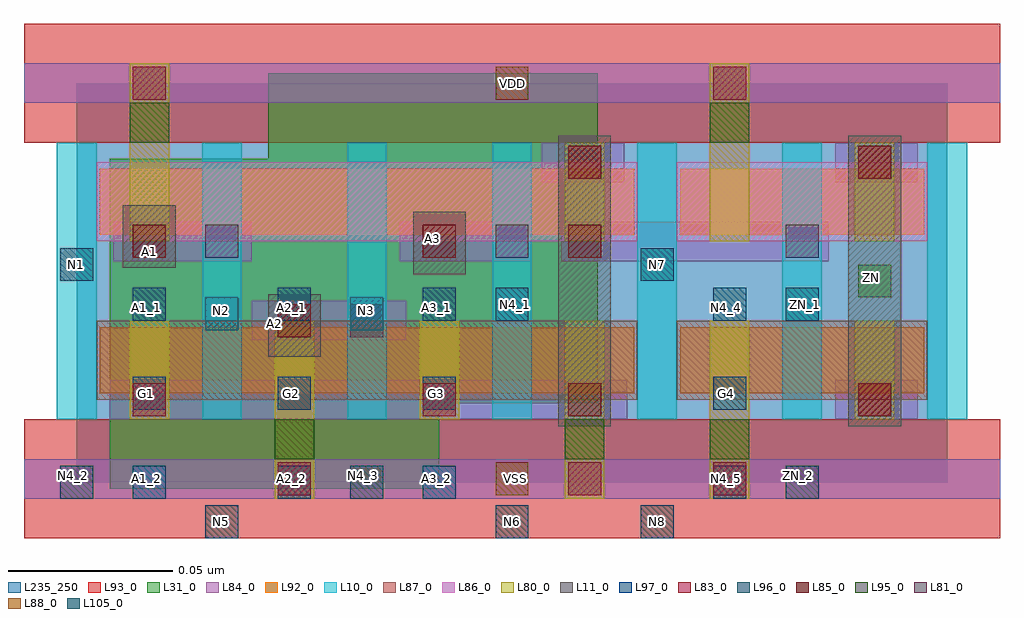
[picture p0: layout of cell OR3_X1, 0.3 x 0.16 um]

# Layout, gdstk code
import gdstk
lib = gdstk.Library(unit=1e-6, precision=1e-09)
def R(c, l, rs):  # rectangles x0, y0, x1, y1
    for r in rs: c.add(gdstk.rectangle(r[:2], r[2:], *l))
def A(c, l, x, y, w, h, nx, ny, dx, dy):  # array of equal rectangles
    R(c, l, [(x+i*dx, y+j*dy, x+i*dx+w, y+j*dy+h) for i in range(nx) for j in range(ny)])
L10_0 = (10, 0)
L11_0 = (11, 0)
L31_0 = (31, 0)
L80_0 = (80, 0)
L81_0 = (81, 0)
L83_0 = (83, 0)
L84_0 = (84, 0)
L85_0 = (85, 0)
L86_0 = (86, 0)
L87_0 = (87, 0)
L88_0 = (88, 0)
L92_0 = (92, 0)
L93_0 = (93, 0)
L95_0 = (95, 0)
L96_0 = (96, 0)
L97_0 = (97, 0)
L105_0 = (105, 0)
L235_250 = (235, 250)

or3_x1 = lib.new_cell('OR3_X1')
A(or3_x1, L10_0, -0.006, 0.019, 0.012, 0.084, 7, 1, 0.044, 0)
R(or3_x1, L11_0, [(0.146,0.017,0.162,0.105), (0.234,0.017,0.25,0.105), (0.058,0.038,0.074,0.057), (0.102,0.063,0.118,0.082), (0.014,0.065,0.03,0.084)])
R(or3_x1, L31_0, [(0.01,-0.002,0.11,0.098), (0.058,0.024,0.158,0.124), (0.237,0.056,0.247,0.066), (0.015,0.068,0.025,0.078), (0.105,0.068,0.115,0.078)])
R(or3_x1, L80_0, [(0.06,-0.005,0.072,0.049), (0.148,-0.005,0.16,0.049), (0.192,-0.005,0.204,0.049), (0.016,0.019,0.028,0.049), (0.104,0.019,0.116,0.049), (0.236,0.019,0.248,0.049), (0.016,0.073,0.028,0.127), (0.148,0.073,0.16,0.103), (0.192,0.073,0.204,0.127), (0.236,0.073,0.248,0.103)])
A(or3_x1, L81_0, 0.039, 0.068, 0.01, 0.01, 3, 1, 0.088, 0)
R(or3_x1, L81_0, [(0.083,0.044,0.093,0.054)])
R(or3_x1, L83_0, [(0.061,-0.004,0.071,0.006), (0.149,-0.004,0.159,0.006), (0.193,-0.004,0.203,0.006), (0.017,0.02,0.027,0.03), (0.105,0.02,0.115,0.03), (0.237,0.02,0.247,0.03), (0.149,0.092,0.159,0.102), (0.237,0.092,0.247,0.102), (0.017,0.116,0.027,0.126), (0.193,0.116,0.203,0.126)])
R(or3_x1, L84_0, [(-0.016,-0.005,0.28,0.007), (0.01,0.019,0.167,0.031), (0.23,0.019,0.255,0.031), (0.053,0.043,0.1,0.055), (0.011,0.067,0.053,0.079), (0.098,0.067,0.138,0.079), (0.147,0.067,0.228,0.079), (0.141,0.091,0.166,0.103), (0.23,0.091,0.255,0.103), (-0.016,0.115,0.28,0.127)])
R(or3_x1, L85_0, [(0.149,0.02,0.159,0.03), (0.237,0.02,0.247,0.03), (0.061,0.044,0.071,0.054), (0.017,0.068,0.027,0.078), (0.105,0.068,0.115,0.078), (0.149,0.068,0.159,0.078), (0.149,0.092,0.159,0.102), (0.237,0.092,0.247,0.102)])
R(or3_x1, L86_0, [(0.006,0.073,0.17,0.097), (0.182,0.073,0.258,0.097)])
R(or3_x1, L87_0, [(0.006,0.025,0.17,0.049), (0.182,0.025,0.258,0.049)])
R(or3_x1, L88_0, [(0.127,-0.004,0.137,0.006), (0.127,0.116,0.137,0.126)])
R(or3_x1, L92_0, [(0.007,0.027,0.169,0.047), (0.183,0.027,0.257,0.047), (0.007,0.075,0.169,0.095), (0.183,0.075,0.257,0.095)])
R(or3_x1, L93_0, [(-0.016,-0.017,0.28,0.019), (-0.016,0.103,0.28,0.139)])
R(or3_x1, L95_0, [(0.06,0.007,0.072,0.019), (0.148,0.007,0.16,0.019), (0.192,0.007,0.204,0.019), (0.016,0.103,0.028,0.115), (0.192,0.103,0.204,0.115)])
R(or3_x1, L96_0, [(0.039,-0.017,0.049,-0.007), (0.127,-0.017,0.137,-0.007), (0.171,-0.017,0.181,-0.007), (-0.005,-0.005,0.005,0.005), (0.083,-0.005,0.093,0.005), (0.215,-0.005,0.225,0.005), (0.127,0.049,0.137,0.059), (0.215,0.049,0.225,0.059), (-0.005,0.061,0.005,0.071), (0.171,0.061,0.181,0.071)])
A(or3_x1, L97_0, 0.017, -0.005, 0.01, 0.01, 3, 3, 0.044, 0.027)
A(or3_x1, L97_0, 0.193, -0.005, 0.01, 0.01, 1, 3, 0, 0.027)
R(or3_x1, L105_0, [(0.039,0.046,0.049,0.056), (0.083,0.046,0.093,0.056)])
R(or3_x1, L235_250, [(0,0,0.264,0.121)])
or3_x1.add(gdstk.Label('VSS', (0.133,0.001), layer=88, texttype=0))
or3_x1.add(gdstk.Label('VDD', (0.132,0.121), layer=88, texttype=0))
or3_x1.add(gdstk.Label('A2', (0.06,0.048), layer=31, texttype=0))
or3_x1.add(gdstk.Label('ZN', (0.241,0.062), layer=31, texttype=0))
or3_x1.add(gdstk.Label('A3', (0.108,0.074), layer=31, texttype=0))
or3_x1.add(gdstk.Label('A1', (0.022,0.07), layer=31, texttype=0))
or3_x1.add(gdstk.Label('N2', (0.044,0.052), layer=105, texttype=0))
or3_x1.add(gdstk.Label('N3', (0.088,0.052), layer=105, texttype=0))
or3_x1.add(gdstk.Label('A3_1', (0.109,0.053), layer=97, texttype=0))
or3_x1.add(gdstk.Label('A3_2', (0.109,0.001), layer=97, texttype=0))
or3_x1.add(gdstk.Label('N4_5', (0.197,0.001), layer=97, texttype=0))
or3_x1.add(gdstk.Label('G3', (0.109,0.027), layer=97, texttype=0))
or3_x1.add(gdstk.Label('N4_4', (0.197,0.053), layer=97, texttype=0))
or3_x1.add(gdstk.Label('G4', (0.197,0.027), layer=97, texttype=0))
or3_x1.add(gdstk.Label('G2', (0.065,0.027), layer=97, texttype=0))
or3_x1.add(gdstk.Label('A2_1', (0.065,0.053), layer=97, texttype=0))
or3_x1.add(gdstk.Label('A2_2', (0.065,0.001), layer=97, texttype=0))
or3_x1.add(gdstk.Label('G1', (0.021,0.027), layer=97, texttype=0))
or3_x1.add(gdstk.Label('A1_2', (0.021,0.001), layer=97, texttype=0))
or3_x1.add(gdstk.Label('A1_1', (0.021,0.053), layer=97, texttype=0))
or3_x1.add(gdstk.Label('N7', (0.176,0.066), layer=96, texttype=0))
or3_x1.add(gdstk.Label('N5', (0.044,-0.012), layer=96, texttype=0))
or3_x1.add(gdstk.Label('N8', (0.176,-0.012), layer=96, texttype=0))
or3_x1.add(gdstk.Label('N1', (0,0.066), layer=96, texttype=0))
or3_x1.add(gdstk.Label('N4_1', (0.133,0.054), layer=96, texttype=0))
or3_x1.add(gdstk.Label('ZN_1', (0.221,0.054), layer=96, texttype=0))
or3_x1.add(gdstk.Label('ZN_2', (0.219,0.002), layer=96, texttype=0))
or3_x1.add(gdstk.Label('N4_3', (0.087,0.002), layer=96, texttype=0))
or3_x1.add(gdstk.Label('N6', (0.132,-0.012), layer=96, texttype=0))
or3_x1.add(gdstk.Label('N4_2', (-0.001,0.002), layer=96, texttype=0))

lib.write_gds('OR3_X1.gds')
